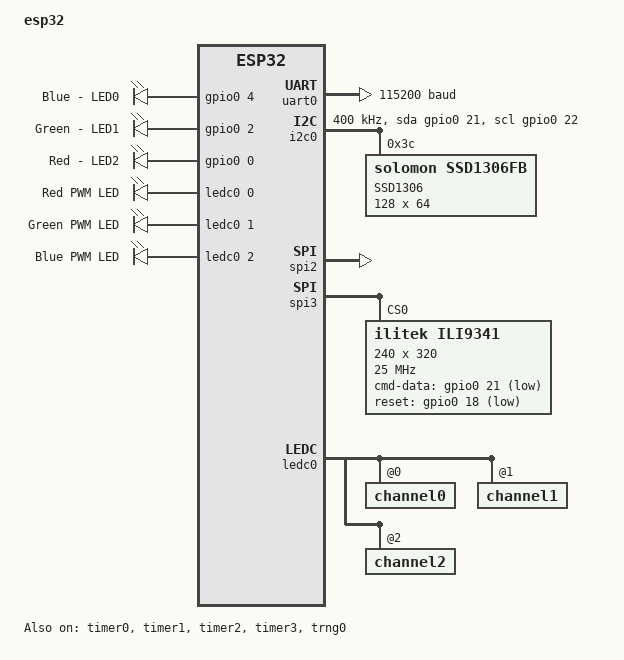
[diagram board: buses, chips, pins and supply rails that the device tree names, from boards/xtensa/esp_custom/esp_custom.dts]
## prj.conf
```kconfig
CONFIG_GPIO=y
CONFIG_I2C=y
CONFIG_STDOUT_CONSOLE=y
CONFIG_HEAP_MEM_POOL_SIZE=16384
CONFIG_DISPLAY=y
CONFIG_LOG=y
CONFIG_CFB_LOG_LEVEL_DBG=y
CONFIG_CHARACTER_FRAMEBUFFER=y
```

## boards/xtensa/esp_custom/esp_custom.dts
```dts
/*
 * Copyright (c) 2021 Espressif Systems (Shanghai) Co., Ltd.
 *
 * SPDX-License-Identifier: Apache-2.0
 */
/dts-v1/;

#include <espressif/esp32.dtsi>
#include "esp_custom-pinctrl.dtsi"

/ {
	model = "esp32";
	compatible = "espressif,esp32";

	aliases {
		led0 = &blue_led;
		led1 = &green_led;
		led2 = &red_led;
		pwm-led0 = &pwm_led_red;
		pwm-led1 = &pwm_led_green;
		pwm-led2 = &pwm_led_blue;
		red-pwm-led = &pwm_led_red;
		green-pwm-led = &pwm_led_green;
		blue-pwm-led = &pwm_led_blue;
		uart-0 = &uart0;
		i2c-0 = &i2c0;
		watchdog0 = &wdt0;
	};

	chosen {
		zephyr,sram = &sram0;
		zephyr,console = &uart0;
		zephyr,shell-uart = &uart0;
		zephyr,flash = &flash0;
		zephyr,display = &ssd1306;
		
	};

	leds {
		compatible = "gpio-leds";

		blue_led: led_0 {
			gpios =  <&gpio0 4 GPIO_ACTIVE_HIGH>;
			label = "Blue - LED0";
		};

		green_led: led_1 {
			gpios =  <&gpio0 2 GPIO_ACTIVE_HIGH>;
			label = "Green - LED1";
		};

		red_led: led_2 {
			gpios =  <&gpio0 0 GPIO_ACTIVE_HIGH>;
			label = "Red - LED2";
		};
	};
	pwmleds {
		compatible = "pwm-leds";
		pwm_led_red: pwm_led_0 {
			label = "Red PWM LED";
			pwms = <&ledc0 0 PWM_HZ(100) PWM_POLARITY_NORMAL>;
		};
		pwm_led_green: pwm_led_1 {
			label = "Green PWM LED";
			pwms = <&ledc0 1 PWM_HZ(100) PWM_POLARITY_NORMAL>;
		};
		pwm_led_blue: pwm_led_2 {
			label = "Blue PWM LED";
			pwms = <&ledc0 2 PWM_HZ(100) PWM_POLARITY_NORMAL>;
		};
	};
};

&cpu0 {
	clock-frequency = <ESP32_CLK_CPU_240M>;
};

&cpu1 {
	clock-frequency = <ESP32_CLK_CPU_240M>;
};

&uart0 {
	status = "okay";
	current-speed = <115200>;
	pinctrl-0 = <&uart0_default>;
	pinctrl-names = "default";
};

&gpio0 {
	status = "okay";
};

&gpio1 {
	status = "okay";
};

&i2c0 {
	status = "okay";
	clock-frequency = <I2C_BITRATE_FAST>;
	sda-gpios = <&gpio0 21 (GPIO_OPEN_DRAIN  )>;
	scl-gpios = <&gpio0 22 (GPIO_OPEN_DRAIN  )>;
	pinctrl-0 = <&i2c0_default>;
	pinctrl-names = "default";
	ssd1306: ssd1306@3c {
		compatible = "solomon,ssd1306fb";
		reg = < 0x3c >;
		label = "SSD1306";
		width = < 128 >;
		height = < 64 >;
		segment-offset = < 0x0 >;
		page-offset = < 0x0 >;
		display-offset = < 0x0 >;
		multiplex-ratio = < 0x3f >;
		segment-remap;
		com-invdir;
		prechargep = < 0x22 >;
	};	
};

&spi2 {
	#address-cells = <1>;
	#size-cells = <0>;
	status = "okay";
	pinctrl-0 = <&spim2_default>;
	pinctrl-names = "default";
};

&spi3 {
	#address-cells = <1>;
	#size-cells = <0>;
	status = "okay";
	pinctrl-0 = <&spim3_default>;
	pinctrl-names = "default";

	ili9341: ili9341@0 {
		compatible = "ilitek,ili9341";
		spi-max-frequency = <25000000>;
		reg = <0>;
		cmd-data-gpios = <&gpio0 21 GPIO_ACTIVE_LOW>;
		reset-gpios = <&gpio0 18 GPIO_ACTIVE_LOW>;
		pixel-format = <0>;
		rotation = <0>;
		width = <240>;
		height = <320>;
	};
};
&ledc0 {
	pinctrl-0 = <&ledc0_default>;
	pinctrl-names = "default";
	status = "okay";
	#address-cells = <1>;
	#size-cells = <0>;
	channel0@0 {
		reg = <0x0>;
		timer = <0>;
	};
	channel1@1 {
		reg = <0x1>;
		timer = <1>;
	};
	channel2@2 {
		reg = <0x2>;
		timer = <2>;
	};
};

&timer0 {
	status = "okay";
};

&timer1 {
	status = "okay";
};

&timer2 {
	status = "okay";
};

&timer3 {
	status = "okay";
};

&trng0 {
	status = "okay";
};

&flash0 {
	status = "okay";
	partitions {
		compatible = "fixed-partitions";
		#address-cells = <1>;
		#size-cells = <1>;

		/* Reserve 60kB for the bootloader */
		boot_partition: partition@1000 {
			label = "mcuboot";
			reg = <0x00001000 0x0000F000>;
			read-only;
		};

		/* Reserve 1024kB for the application in slot 0 */
		slot0_partition: partition@10000 {
			label = "image-0";
			reg = <0x00010000 0x00100000>;
		};

		/* Reserve 1024kB for the application in slot 1 */
		slot1_partition: partition@110000 {
			label = "image-1";
			reg = <0x00110000 0x00100000>;
		};

		/* Reserve 256kB for the scratch partition */
		scratch_partition: partition@210000 {
			   label = "image-scratch";
			   reg = <0x00210000 0x00040000>;
		};

		storage_partition: partition@250000 {
			label = "storage";
			reg = <0x00250000 0x00006000>;
		};
	};
};
```

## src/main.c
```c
/*
 * Copyright (c) 2018 PHYTEC Messtechnik GmbH
 *
 * SPDX-License-Identifier: Apache-2.0
 */

#include <zephyr/kernel.h>
#include <zephyr/device.h>
#include <zephyr/display/cfb.h>
#include <stdio.h>

void main(void)
{
	const struct device *dev;
	uint16_t rows;
	uint8_t ppt;
	uint8_t font_width;
	uint8_t font_height;
	uint16_t count;
	char display_string[10];

	dev = DEVICE_DT_GET(DT_CHOSEN(zephyr_display));
	if (!device_is_ready(dev)) {
		printf("Device %s not ready\n", dev->name);
		return;
	}

	if (display_set_pixel_format(dev, PIXEL_FORMAT_MONO10) != 0) {
		printf("Failed to set required pixel format\n");
		return;
	}

	printf("Initialized %s\n", dev->name);

	if (cfb_framebuffer_init(dev)) {
		printf("Framebuffer initialization failed!\n");
		return;
	}

	cfb_framebuffer_clear(dev, true);

	display_blanking_off(dev);

	rows = cfb_get_display_parameter(dev, CFB_DISPLAY_ROWS);
	ppt = cfb_get_display_parameter(dev, CFB_DISPLAY_PPT);

	for (int idx = 0; idx < 42; idx++) {
		if (cfb_get_font_size(dev, idx, &font_width, &font_height)) {
			break;
		}
		cfb_framebuffer_set_font(dev, idx);
		printf("font width %d, font height %d\n",
		       font_width, font_height);
		
	}

	printf("x_res %d, y_res %d, ppt %d, rows %d, cols %d\n",
	       cfb_get_display_parameter(dev, CFB_DISPLAY_WIDTH),
	       cfb_get_display_parameter(dev, CFB_DISPLAY_HEIGH),
	       ppt,
	       rows,
	       cfb_get_display_parameter(dev, CFB_DISPLAY_COLS));

	while (1) 
	{
		cfb_framebuffer_clear(dev, false);
		sprintf(display_string,"%06d",count);
		cfb_print(dev,display_string,  0, 0);
		cfb_framebuffer_finalize(dev);	
		//k_msleep(200);
		count++;
	}

#if 0
	while (1) {
		for (int i = 0; i < rows; i++) {
			cfb_framebuffer_clear(dev, false);
			if (cfb_print(dev,
				      "0123456789mMgj!\"§$%&/()=",
				      0, 0 * ppt)) {
				printf("Failed to print a string\n");
				continue;
			}

			cfb_framebuffer_finalize(dev);
#if defined(CONFIG_ARCH_POSIX)
			k_sleep(K_MSEC(100));
#endif
		}
	}
#endif	
}
```
